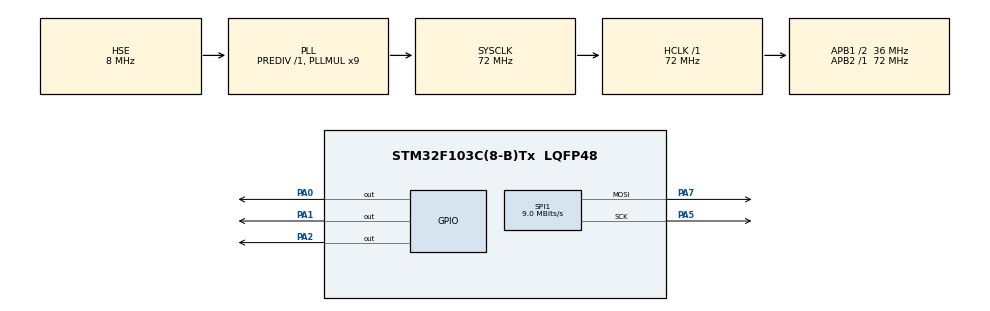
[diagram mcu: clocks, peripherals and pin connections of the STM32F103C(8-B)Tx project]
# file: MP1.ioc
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Dma.Request0=SPI1_TX
Dma.SPI1_TX.0.Direction=DMA_MEMORY_TO_PERIPH
Dma.SPI1_TX.0.Instance=DMA1_Channel3
Dma.SPI1_TX.0.MemDataAlignment=DMA_MDATAALIGN_BYTE
Dma.SPI1_TX.0.MemInc=DMA_MINC_ENABLE
Dma.SPI1_TX.0.Mode=DMA_NORMAL
Dma.SPI1_TX.0.PeriphDataAlignment=DMA_PDATAALIGN_BYTE
Dma.SPI1_TX.0.PeriphInc=DMA_PINC_DISABLE
Dma.SPI1_TX.0.Priority=DMA_PRIORITY_LOW
Mcu.Family=STM32F1
Mcu.Name=STM32F103C(8-B)Tx
Mcu.Package=LQFP48
NVIC.DMA1_Channel3_IRQn=true\:0\:0\:false\:false\:true\:false\:true\:true
NVIC.PriorityGroup=NVIC_PRIORITYGROUP_4
PA0-WKUP.Signal=GPIO_Output
PA1.Signal=GPIO_Output
PA2.Signal=GPIO_Output
PA5.Mode=TX_Only_Simplex_Unidirect_Master
PA5.Signal=SPI1_SCK
PA7.Mode=TX_Only_Simplex_Unidirect_Master
PA7.Signal=SPI1_MOSI
PD0-OSC_IN.Mode=HSE-External-Oscillator
PD0-OSC_IN.Signal=RCC_OSC_IN
PD1-OSC_OUT.Mode=HSE-External-Oscillator
PD1-OSC_OUT.Signal=RCC_OSC_OUT
ProjectManager.HeapSize=0x200
ProjectManager.StackSize=0x400
ProjectManager.TargetToolchain=STM32CubeIDE
RCC.AHBFreq_Value=72000000
RCC.APB1CLKDivider=RCC_HCLK_DIV2
RCC.APB1Freq_Value=36000000
RCC.APB1TimFreq_Value=72000000
RCC.APB2Freq_Value=72000000
RCC.APB2TimFreq_Value=72000000
RCC.HCLKFreq_Value=72000000
RCC.PLLMUL=RCC_PLL_MUL9
RCC.PLLSourceVirtual=RCC_PLLSOURCE_HSE
RCC.SYSCLKFreq_VALUE=72000000
RCC.SYSCLKSource=RCC_SYSCLKSOURCE_PLLCLK
RCC.USBFreq_Value=72000000
SPI1.BaudRatePrescaler=SPI_BAUDRATEPRESCALER_8
SPI1.CalculateBaudRate=9.0 MBits/s
SPI1.Direction=SPI_DIRECTION_2LINES
SPI1.Mode=SPI_MODE_MASTER
SPI1.VirtualType=VM_MASTER
VP_SYS_VS_ND.Mode=No_Debug
board=custom

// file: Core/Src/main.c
/* USER CODE BEGIN Header */
/**
  ******************************************************************************
  * @file           : main.c
  * @brief          : Main program body
  ******************************************************************************
  * @attention
  *
  * Copyright (c) 2026 STMicroelectronics.
  * All rights reserved.
  *
  * This software is licensed under terms that can be found in the LICENSE file
  * in the root directory of this software component.
  * If no LICENSE file comes with this software, it is provided AS-IS.
  *
  ******************************************************************************
  */
/* USER CODE END Header */
#include "main.h"
#include "math.h"

/* USER CODE BEGIN Includes */
#include "st7789.h"
#include "fonts.h"
/* USER CODE END Includes */

SPI_HandleTypeDef hspi1;
DMA_HandleTypeDef hdma_spi1_tx;

/* USER CODE BEGIN PV */
#define WIDTH 160
#define HEIGHT 128
#define PI 3.14159

uint8_t sine_buffer[WIDTH];
/* USER CODE END PV */

void SystemClock_Config(void);
static void MX_GPIO_Init(void);
static void MX_DMA_Init(void);
static void MX_SPI1_Init(void);
/* USER CODE BEGIN PFP */
void TFT_Init(void);
void clear_screen(void);
void generate_sine(void);
void draw_grid(void);
void draw_sine(void);

/* USER CODE END PFP */

/* USER CODE BEGIN 0 */
void TFT_Init()
{
    // Using standard library naming conventions
    ST7789_Init();

    // If you must manually send commands, use the library's internal functions:
    // ST7789_WriteCommand(0x21); // Example: Inversion ON
}

void draw_grid()
{
    // Draw horizontal grid lines (Green)
    for(int y = 0; y < HEIGHT; y += 20) {
        for(int x = 0; x < WIDTH; x++) {
            ST7789_DrawPixel(x, y, 0x07E0);
        }
    }
    // Draw vertical grid lines (Green)
    for(int x = 0; x < WIDTH; x += 20) {
        for(int y = 0; y < HEIGHT; y++) {
            ST7789_DrawPixel(x, y, 0x07E0);
        }
    }
    // Center line (White)
    for(int x = 0; x < WIDTH; x++) {
        ST7789_DrawPixel(x, HEIGHT/2, 0xFFFF);
    }
}

void generate_sine()
{
    for(int x = 0; x < WIDTH; x++)
    {
        // 2 * PI * x / WIDTH gives exactly one full cycle
        float angle = (2.0f * PI * x) / WIDTH;
        float s = sinf(angle);
        int y = (HEIGHT/2) + (int)(s * 40);  // 40 is the amplitude
        sine_buffer[x] = y;
    }
}

// Global variable to store the old wave so we can erase it specifically
uint8_t old_sine_buffer[WIDTH];

void draw_sine()
{
    for(int x = 0; x < WIDTH; x++)
    {
        // 1. Erase ONLY the old pixel to prevent flickering
        // We set it back to black (0x0000) or redraw the grid pixel if needed
        ST7789_DrawPixel(x, old_sine_buffer[x], 0x0000);

        // 2. Draw the new pixel (White)
        ST7789_DrawPixel(x, sine_buffer[x], 0xFFFF);

        // 3. Save the current position for the next frame's erasure
        old_sine_buffer[x] = sine_buffer[x];
    }
}
/* USER CODE END 0 */

int main(void)
{

  /* MCU Configuration--------------------------------------------------------*/

  /* Reset of all peripherals, Initializes the Flash interface and the Systick. */
  HAL_Init();

  /* Configure the system clock */
  SystemClock_Config();

  /* Initialize all configured peripherals */
  MX_GPIO_Init();
  MX_DMA_Init();
  MX_SPI1_Init();
  /* USER CODE BEGIN 2 */
  TFT_Init();
  //clear_screen();

//ST7789_WriteString(20,50,"Hello!",Font_11x18,WHITE,BLACK);
  /* USER CODE END 2 */

  /* Infinite loop */
  while (1)
  {

    /* USER CODE BEGIN 3 */
	   //clear_screen();     // clear display

	   //draw_grid();        // draw grid

	   generate_sine();    // generate sine

	   draw_sine();        // draw sine

	   HAL_Delay(200);
  }
  /* USER CODE END 3 */
}

void SystemClock_Config(void)
{
  RCC_OscInitTypeDef RCC_OscInitStruct = {0};
  RCC_ClkInitTypeDef RCC_ClkInitStruct = {0};

  /** Initializes the RCC Oscillators according to the specified parameters
  * in the RCC_OscInitTypeDef structure.
  */
  RCC_OscInitStruct.OscillatorType = RCC_OSCILLATORTYPE_HSE;
  RCC_OscInitStruct.HSEState = RCC_HSE_ON;
  RCC_OscInitStruct.HSEPredivValue = RCC_HSE_PREDIV_DIV1;
  RCC_OscInitStruct.HSIState = RCC_HSI_ON;
  RCC_OscInitStruct.PLL.PLLState = RCC_PLL_ON;
  RCC_OscInitStruct.PLL.PLLSource = RCC_PLLSOURCE_HSE;
  RCC_OscInitStruct.PLL.PLLMUL = RCC_PLL_MUL9;
  if (HAL_RCC_OscConfig(&RCC_OscInitStruct) != HAL_OK)
  {
    Error_Handler();
  }

  /** Initializes the CPU, AHB and APB buses clocks
  */
  RCC_ClkInitStruct.ClockType = RCC_CLOCKTYPE_HCLK|RCC_CLOCKTYPE_SYSCLK
                              |RCC_CLOCKTYPE_PCLK1|RCC_CLOCKTYPE_PCLK2;
  RCC_ClkInitStruct.SYSCLKSource = RCC_SYSCLKSOURCE_PLLCLK;
  RCC_ClkInitStruct.AHBCLKDivider = RCC_SYSCLK_DIV1;
  RCC_ClkInitStruct.APB1CLKDivider = RCC_HCLK_DIV2;
  RCC_ClkInitStruct.APB2CLKDivider = RCC_HCLK_DIV1;

  if (HAL_RCC_ClockConfig(&RCC_ClkInitStruct, FLASH_LATENCY_2) != HAL_OK)
  {
    Error_Handler();
  }
}

static void MX_SPI1_Init(void)
{

  /* SPI1 parameter configuration*/
  hspi1.Instance = SPI1;
  hspi1.Init.Mode = SPI_MODE_MASTER;
  hspi1.Init.Direction = SPI_DIRECTION_2LINES;
  hspi1.Init.DataSize = SPI_DATASIZE_8BIT;
  hspi1.Init.CLKPolarity = SPI_POLARITY_LOW;
  hspi1.Init.CLKPhase = SPI_PHASE_1EDGE;
  hspi1.Init.NSS = SPI_NSS_SOFT;
  hspi1.Init.BaudRatePrescaler = SPI_BAUDRATEPRESCALER_8;
  hspi1.Init.FirstBit = SPI_FIRSTBIT_MSB;
  hspi1.Init.TIMode = SPI_TIMODE_DISABLE;
  hspi1.Init.CRCCalculation = SPI_CRCCALCULATION_DISABLE;
  hspi1.Init.CRCPolynomial = 10;
  if (HAL_SPI_Init(&hspi1) != HAL_OK)
  {
    Error_Handler();
  }

}

static void MX_DMA_Init(void)
{

  /* DMA controller clock enable */
  __HAL_RCC_DMA1_CLK_ENABLE();

  /* DMA interrupt init */
  /* DMA1_Channel3_IRQn interrupt configuration */
  HAL_NVIC_SetPriority(DMA1_Channel3_IRQn, 0, 0);
  HAL_NVIC_EnableIRQ(DMA1_Channel3_IRQn);

}

static void MX_GPIO_Init(void)
{
  GPIO_InitTypeDef GPIO_InitStruct = {0};

  /* GPIO Ports Clock Enable */
  __HAL_RCC_GPIOD_CLK_ENABLE();
  __HAL_RCC_GPIOA_CLK_ENABLE();

  /*Configure GPIO pin Output Level */
  HAL_GPIO_WritePin(GPIOA, GPIO_PIN_0|GPIO_PIN_1|GPIO_PIN_2, GPIO_PIN_RESET);

  /*Configure GPIO pins : PA0 PA1 PA2 */
  GPIO_InitStruct.Pin = GPIO_PIN_0|GPIO_PIN_1|GPIO_PIN_2;
  GPIO_InitStruct.Mode = GPIO_MODE_OUTPUT_PP;
  GPIO_InitStruct.Pull = GPIO_NOPULL;
  GPIO_InitStruct.Speed = GPIO_SPEED_FREQ_LOW;
  HAL_GPIO_Init(GPIOA, &GPIO_InitStruct);

}

void Error_Handler(void)
{
  __disable_irq();
  while (1)
  {
  }
}
